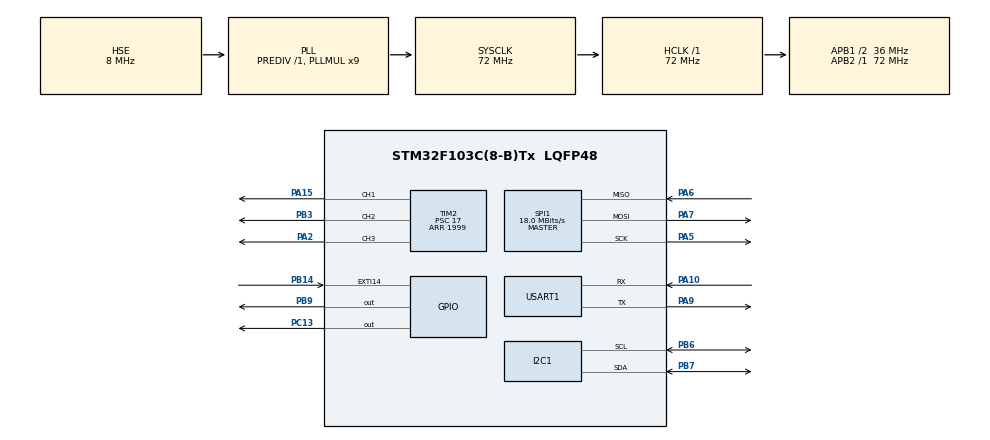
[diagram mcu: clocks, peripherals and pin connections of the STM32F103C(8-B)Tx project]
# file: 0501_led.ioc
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Dma.Request0=USART1_TX
Dma.Request1=USART1_RX
Dma.USART1_RX.1.Direction=DMA_PERIPH_TO_MEMORY
Dma.USART1_RX.1.Instance=DMA1_Channel5
Dma.USART1_RX.1.MemDataAlignment=DMA_MDATAALIGN_BYTE
Dma.USART1_RX.1.MemInc=DMA_MINC_ENABLE
Dma.USART1_RX.1.Mode=DMA_NORMAL
Dma.USART1_RX.1.PeriphDataAlignment=DMA_PDATAALIGN_BYTE
Dma.USART1_RX.1.PeriphInc=DMA_PINC_DISABLE
Dma.USART1_RX.1.Priority=DMA_PRIORITY_LOW
Dma.USART1_TX.0.Direction=DMA_MEMORY_TO_PERIPH
Dma.USART1_TX.0.Instance=DMA1_Channel4
Dma.USART1_TX.0.MemDataAlignment=DMA_MDATAALIGN_BYTE
Dma.USART1_TX.0.MemInc=DMA_MINC_ENABLE
Dma.USART1_TX.0.Mode=DMA_NORMAL
Dma.USART1_TX.0.PeriphDataAlignment=DMA_PDATAALIGN_BYTE
Dma.USART1_TX.0.PeriphInc=DMA_PINC_DISABLE
Dma.USART1_TX.0.Priority=DMA_PRIORITY_LOW
Mcu.Family=STM32F1
Mcu.Name=STM32F103C(8-B)Tx
Mcu.Package=LQFP48
NVIC.DMA1_Channel4_IRQn=true\:0\:0\:false\:false\:true\:false\:true\:true
NVIC.DMA1_Channel5_IRQn=true\:0\:0\:false\:false\:true\:false\:true\:true
NVIC.EXTI15_10_IRQn=true\:0\:0\:true\:false\:true\:true\:true\:true
NVIC.I2C1_ER_IRQn=true\:0\:0\:false\:false\:true\:true\:true\:true
NVIC.I2C1_EV_IRQn=true\:0\:0\:false\:false\:true\:true\:true\:true
NVIC.PriorityGroup=NVIC_PRIORITYGROUP_4
NVIC.SPI1_IRQn=true\:0\:0\:false\:false\:true\:true\:true\:true
NVIC.TIM4_IRQn=true\:15\:0\:false\:false\:true\:false\:true\:true
NVIC.TimeBase=TIM4_IRQn
NVIC.TimeBaseIP=TIM4
NVIC.USART1_IRQn=true\:0\:0\:false\:false\:true\:true\:true\:true
PA10.Mode=Asynchronous
PA10.Signal=USART1_RX
PA13.Mode=Serial_Wire
PA13.Signal=SYS_JTMS-SWDIO
PA14.Mode=Serial_Wire
PA14.Signal=SYS_JTCK-SWCLK
PA15.Signal=S_TIM2_CH1_ETR
PA2.Signal=S_TIM2_CH3
PA5.Mode=Full_Duplex_Master
PA5.Signal=SPI1_SCK
PA6.Mode=Full_Duplex_Master
PA6.Signal=SPI1_MISO
PA7.Mode=Full_Duplex_Master
PA7.Signal=SPI1_MOSI
PA9.Mode=Asynchronous
PA9.Signal=USART1_TX
PB14.GPIO_ModeDefaultEXTI=GPIO_MODE_IT_RISING_FALLING
PB14.Signal=GPXTI14
PB3.Signal=S_TIM2_CH2
PB6.Mode=I2C
PB6.Signal=I2C1_SCL
PB7.Mode=I2C
PB7.Signal=I2C1_SDA
PB9.GPIO_Speed=GPIO_SPEED_FREQ_HIGH
PB9.Signal=GPIO_Output
PC13-TAMPER-RTC.Signal=GPIO_Output
PC14-OSC32_IN.Mode=LSE-External-Oscillator
PC14-OSC32_IN.Signal=RCC_OSC32_IN
PC15-OSC32_OUT.Mode=LSE-External-Oscillator
PC15-OSC32_OUT.Signal=RCC_OSC32_OUT
PD0-OSC_IN.Mode=HSE-External-Oscillator
PD0-OSC_IN.Signal=RCC_OSC_IN
PD1-OSC_OUT.Mode=HSE-External-Oscillator
PD1-OSC_OUT.Signal=RCC_OSC_OUT
ProjectManager.HeapSize=0x200
ProjectManager.StackSize=0x400
ProjectManager.TargetToolchain=MDK-ARM V5.32
RCC.AHBFreq_Value=72000000
RCC.APB1CLKDivider=RCC_HCLK_DIV2
RCC.APB1Freq_Value=36000000
RCC.APB1TimFreq_Value=72000000
RCC.APB2Freq_Value=72000000
RCC.APB2TimFreq_Value=72000000
RCC.HCLKFreq_Value=72000000
RCC.PLLMUL=RCC_PLL_MUL9
RCC.PLLSourceVirtual=RCC_PLLSOURCE_HSE
RCC.SYSCLKFreq_VALUE=72000000
RCC.SYSCLKSource=RCC_SYSCLKSOURCE_PLLCLK
RCC.USBFreq_Value=72000000
SH.S_TIM2_CH1_ETR.0=TIM2_CH1,PWM Generation1 CH1
SH.S_TIM2_CH2.0=TIM2_CH2,PWM Generation2 CH2
SH.S_TIM2_CH3.0=TIM2_CH3,PWM Generation3 CH3
SPI1.BaudRatePrescaler=SPI_BAUDRATEPRESCALER_4
SPI1.CalculateBaudRate=18.0 MBits/s
SPI1.Direction=SPI_DIRECTION_2LINES
SPI1.Mode=SPI_MODE_MASTER
SPI1.VirtualType=VM_MASTER
TIM2.AutoReloadPreload=TIM_AUTORELOAD_PRELOAD_DISABLE
TIM2.Channel-PWM\ Generation1\ CH1=TIM_CHANNEL_1
TIM2.Channel-PWM\ Generation2\ CH2=TIM_CHANNEL_2
TIM2.Channel-PWM\ Generation3\ CH3=TIM_CHANNEL_3
TIM2.OCPolarity_1=TIM_OCPOLARITY_LOW
TIM2.OCPolarity_2=TIM_OCPOLARITY_LOW
TIM2.OCPolarity_3=TIM_OCPOLARITY_LOW
TIM2.Period=1999
TIM2.Prescaler=17
USART1.VirtualMode=VM_ASYNC
VP_SYS_VS_tim4.Mode=TIM4
VP_TIM2_VS_ClockSourceINT.Mode=Internal
board=custom

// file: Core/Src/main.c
/* USER CODE BEGIN Header */
/**
  ******************************************************************************
  * @file           : main.c
  * @brief          : Main program body
  ******************************************************************************
  * @attention
  *
  * Copyright (c) 2023 STMicroelectronics.
  * All rights reserved.
  *
  * This software is licensed under terms that can be found in the LICENSE file
  * in the root directory of this software component.
  * If no LICENSE file comes with this software, it is provided AS-IS.
  *
  ******************************************************************************
  */
/* USER CODE END Header */

#include "main.h"
#include "dma.h"
#include "i2c.h"
#include "spi.h"
#include "tim.h"
#include "usart.h"
#include "gpio.h"

/* USER CODE BEGIN Includes */
#include "driver_oled.h"
#include "circle_buffer.h"
#include "driver_spi_flash.h"
#include "driver_timer.h"
#include "driver_color_led.h"
#include <stdio.h>
/* USER CODE END Includes */

/* USER CODE BEGIN PTD */
struct soft_timer {
	uint32_t timeout;
	void * args;
	void (*func)(void *);
};
/* USER CODE END PTD */

/* USER CODE BEGIN PV */

int target_num=333;//1s
int g_key_cnt = 0;

void key_timeout_func(void *args);

struct soft_timer key_timer = {~0, NULL, key_timeout_func};

static uint8_t g_data_buf[100];
static circle_buf g_key_bufs;

void key_timeout_func(void *args)
{
	uint8_t key_val; /* 鎸変笅鏄?0x1, 鏉惧紑 0x81 */
	g_key_cnt++;
	key_timer.timeout = ~0;

	/* read gpio */
	if (HAL_GPIO_ReadPin(GPIOB, GPIO_PIN_14) == GPIO_PIN_RESET)
		key_val = 0x1;
	else
		key_val = 0x81;

	/* put key val into circle buf */
	circle_buf_write(&g_key_bufs, key_val);
}

void mod_timer(struct soft_timer *pTimer, uint32_t timeout)
{
	pTimer->timeout = HAL_GetTick() + timeout;
}

void check_timer(void)
{
	if (key_timer.timeout <= HAL_GetTick())
	{
		key_timer.func(key_timer.args);
	}
}

uint8_t mode;//模式状态机

void HAL_GPIO_EXTI_Callback(uint16_t GPIO_Pin)
{
	if (GPIO_Pin == GPIO_PIN_14)
	{
		if (HAL_GPIO_ReadPin(GPIOB, GPIO_PIN_14) == GPIO_PIN_RESET)
		{
			/* 按下则点亮LED */
			HAL_GPIO_WritePin(GPIOC, GPIO_PIN_13, GPIO_PIN_RESET);
		}
		else
		{
			/* 松开则熄灭LED */
			HAL_GPIO_WritePin(GPIOC, GPIO_PIN_13, GPIO_PIN_SET);
		}

		mode++;
		if(mode>3)mode=1;

		mod_timer(&key_timer, 10);
	}
}
/* USER CODE END PV */

void SystemClock_Config(void);

//计时
int num=0;

int main(void)
{

  /* MCU Configuration--------------------------------------------------------*/

  /* Reset of all peripherals, Initializes the Flash interface and the Systick. */
  HAL_Init();

  /* Configure the system clock */
  SystemClock_Config();

  /* USER CODE BEGIN SysInit */
  circle_buf_init(&g_key_bufs, 100, g_data_buf);
  /* USER CODE END SysInit */

  /* Initialize all configured peripherals */
  MX_GPIO_Init();
  MX_DMA_Init();
  MX_I2C1_Init();
  MX_USART1_UART_Init();
  MX_SPI1_Init();
  MX_TIM2_Init();
  /* USER CODE BEGIN 2 */

	// Init OLED
    OLED_Init();

	OLED_Clear();

	ColorLED_Init();

	while (1)
{

	  OLED_PrintSignedVal(0,0,num);

	  if(num<mode*target_num)
	  {
		  ColorLED_SetColor(0x00ff00);
	  }
	  else if(num<2*mode*target_num)
	  {
		  ColorLED_SetColor(0x00ff);
	  }
	  else
		  num=0;

    /* USER CODE END WHILE */

    }
}

void SystemClock_Config(void)
{
  RCC_OscInitTypeDef RCC_OscInitStruct = {0};
  RCC_ClkInitTypeDef RCC_ClkInitStruct = {0};

  /** Initializes the RCC Oscillators according to the specified parameters
  * in the RCC_OscInitTypeDef structure.
  */
  RCC_OscInitStruct.OscillatorType = RCC_OSCILLATORTYPE_HSE;
  RCC_OscInitStruct.HSEState = RCC_HSE_ON;
  RCC_OscInitStruct.HSEPredivValue = RCC_HSE_PREDIV_DIV1;
  RCC_OscInitStruct.HSIState = RCC_HSI_ON;
  RCC_OscInitStruct.PLL.PLLState = RCC_PLL_ON;
  RCC_OscInitStruct.PLL.PLLSource = RCC_PLLSOURCE_HSE;
  RCC_OscInitStruct.PLL.PLLMUL = RCC_PLL_MUL9;
  if (HAL_RCC_OscConfig(&RCC_OscInitStruct) != HAL_OK)
  {
    Error_Handler();
  }

  /** Initializes the CPU, AHB and APB buses clocks
  */
  RCC_ClkInitStruct.ClockType = RCC_CLOCKTYPE_HCLK|RCC_CLOCKTYPE_SYSCLK
                              |RCC_CLOCKTYPE_PCLK1|RCC_CLOCKTYPE_PCLK2;
  RCC_ClkInitStruct.SYSCLKSource = RCC_SYSCLKSOURCE_PLLCLK;
  RCC_ClkInitStruct.AHBCLKDivider = RCC_SYSCLK_DIV1;
  RCC_ClkInitStruct.APB1CLKDivider = RCC_HCLK_DIV2;
  RCC_ClkInitStruct.APB2CLKDivider = RCC_HCLK_DIV1;

  if (HAL_RCC_ClockConfig(&RCC_ClkInitStruct, FLASH_LATENCY_2) != HAL_OK)
  {
    Error_Handler();
  }
}

void HAL_TIM_PeriodElapsedCallback(TIM_HandleTypeDef *htim)
{
  if (htim->Instance == TIM4)
  {
		HAL_IncTick();
	  num++;

  }
}

void Error_Handler(void)
{
  __disable_irq();
  while (1)
  {
  }
}
